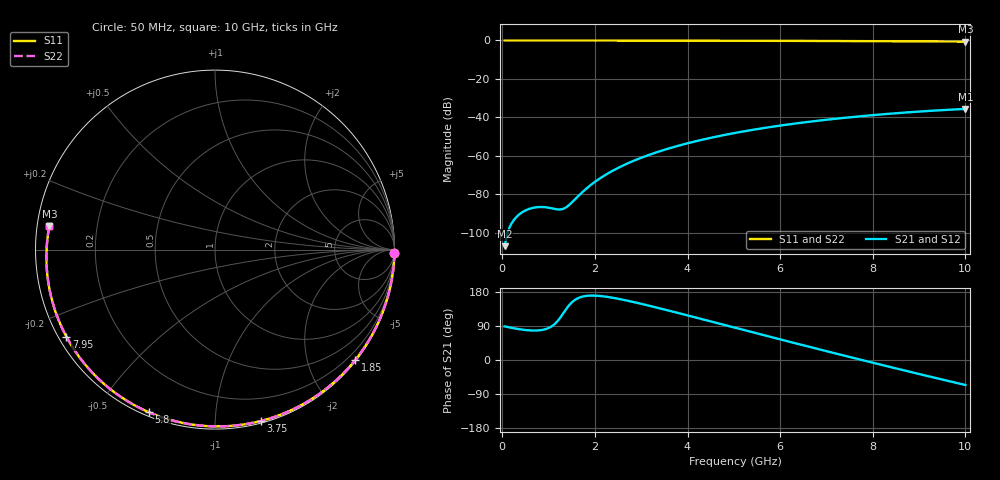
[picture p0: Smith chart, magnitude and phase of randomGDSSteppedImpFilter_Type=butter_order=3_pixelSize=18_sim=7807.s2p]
! freq	dB(S11)	phase(S11)	dB(S12)	phase(S12)
!  dB(S21)	phase(S21)	dB(S22)	phase(S22)
!S-par simulation data
#  GHz  S  DB  R 50
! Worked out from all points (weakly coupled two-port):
!   200 points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, 50 MHz to 10 GHz, reference 50 ohm
!   highest |S21| = -35.59 dB at 10 GHz (marker M1); lowest = -107.0 dB at 50 MHz (marker M2)
!   lowest |S11| = -0.6 dB at 10 GHz (marker M3), VSWR 28.51, Z = 1.76 + j3.55 ohm
!   |S11| at or under -10 dB: nowhere
!   |S22| runs from -0.6 to 0.0 dB; largest |S21 - S12| = 0
!   S11 on the Smith chart (normalised r, x): 50 MHz: open; 1.85 GHz: 0.03, -2.89; 3.75 GHz: 0.02, -1.30; 5.8 GHz: 0.02, -0.67; 7.95 GHz: 0.02, -0.27; 10 GHz: 0.04, +0.07
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0.05  -0.00 -1.1  -106.97 88.7  -106.97 88.7  -0.00 -1.1
0.4  -0.01 -8.4  -89.83 80.6  -89.83 80.6  -0.01 -8.4
0.8  -0.02 -16.7  -86.61 78.3  -86.61 78.3  -0.02 -16.7
1.2  -0.03 -25.0  -87.86 103.6  -87.86 103.6  -0.03 -25.0
1.65  -0.04 -34.2  -80.70 164.1  -80.70 164.1  -0.04 -34.2
1.7  -0.04 -35.2  -79.54 166.3  -79.54 166.3  -0.04 -35.2
1.75  -0.05 -36.2  -78.42 167.9  -78.42 167.9  -0.05 -36.2
1.85  -0.05 -38.2  -76.33 169.7  -76.33 169.7  -0.05 -38.2
2.15  -0.06 -44.2  -71.07 168.4  -71.07 168.4  -0.06 -44.2
2.5  -0.07 -51.1  -66.28 161.6  -66.28 161.6  -0.07 -51.1
2.9  -0.08 -59.0  -61.94 151.1  -61.94 151.1  -0.08 -58.9
3.4  -0.09 -68.5  -57.61 136.4  -57.61 136.4  -0.09 -68.5
3.75  -0.10 -75.1  -55.08 125.6  -55.08 125.6  -0.10 -75.1
4.4  -0.12 -87.1  -51.16 105.1  -51.16 105.1  -0.12 -87.1
5.05  -0.15 -98.8  -47.98 84.4  -47.98 84.4  -0.15 -98.8
5.8  -0.19 -112.1  -44.98 60.7  -44.98 60.7  -0.19 -112.1
6.7  -0.25 -127.7  -42.06 32.6  -42.06 32.6  -0.25 -127.8
7.35  -0.30 -139.0  -40.32 12.6  -40.32 12.6  -0.30 -139.1
7.95  -0.36 -149.6  -38.94 -5.7  -38.94 -5.7  -0.36 -149.6
8.35  -0.40 -156.7  -38.13 -17.7  -38.13 -17.7  -0.40 -156.8
9.2  -0.50 -172.4  -36.66 -42.9  -36.66 -42.9  -0.50 -172.5
10  -0.61 171.9  -35.59 -66.0  -35.59 -66.0  -0.61 171.7
